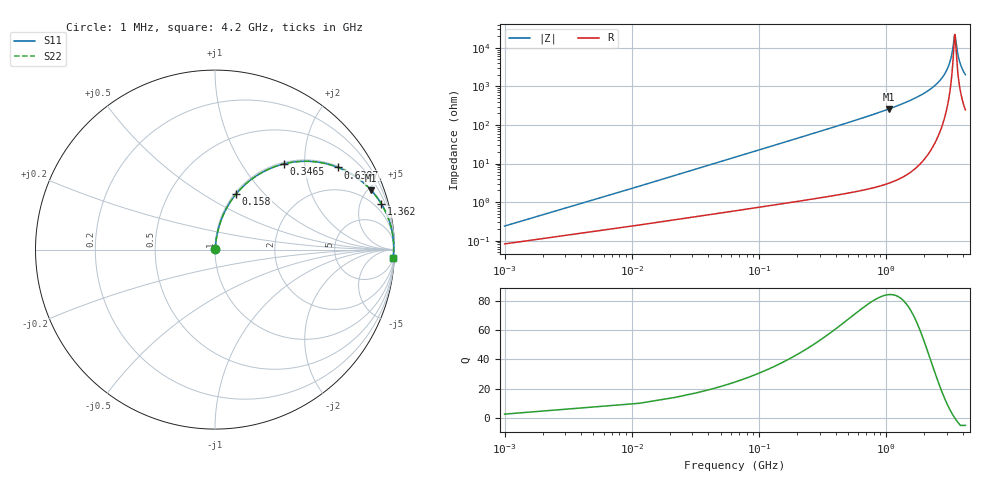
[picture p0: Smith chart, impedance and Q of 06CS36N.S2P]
! Coilcraft 0603CS-36N Chip Inductor
! 21 May 2002
# MHZ S MA R 50
!Freq  MagS11  AngS11  MagS21  AngS21  MagS12  AngS12  MagS22  AngS22
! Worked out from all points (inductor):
!   403 points, 1 MHz to 4.2 GHz, reference 50 ohm
!   read as one part in series: L = 35.7 nH near 21.94 MHz
!   highest Q = 84.2 at 1.058 GHz (marker M1), where L = 39.4 nH
!   self-resonance near 3.467 GHz
!   S11 on the Smith chart (normalised r, x): 1 MHz: 1.00, +0.00; 158.1 MHz: 1.02, +0.71; 346.5 MHz: 1.03, +1.57; 639.7 MHz: 1.04, +2.97; 1.362 GHz: 1.09, +7.22; 4.2 GHz: 6, -40
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1  0.002387 69.7  0.9992 -0.1  0.9992 -0.1  0.002387 69.7
32.41  0.07233 82.5  0.9932 -4.1  0.9932 -4.1  0.07233 82.5
42.88  0.09542 81.7  0.9907 -5.5  0.9907 -5.5  0.09542 81.7
84.76  0.1858 77.3  0.976 -10.7  0.976 -10.7  0.1858 77.3
158.05  0.3322 69.1  0.9347 -19.4  0.9347 -19.4  0.3322 69.1
346.51  0.6124 51.2  0.7799 -37.8  0.7799 -37.8  0.6124 51.2
639.67  0.8244 33.7  0.555 -55.5  0.555 -55.5  0.8244 33.7
702.49  0.8494 31.1  0.5169 -58.1  0.5169 -58.1  0.8494 31.1
1058.47  0.9305 20.8  0.3554 -68.5  0.3554 -68.5  0.9305 20.8
1362.1  0.9607 15.4  0.2659 -73.9  0.2659 -73.9  0.9607 15.4
1403.98  0.9635 14.8  0.2558 -74.5  0.2558 -74.5  0.9635 14.8
2105.47  0.9884 7.6  0.1322 -81.2  0.1322 -81.2  0.9884 7.6
2806.96  0.9951 3.1  0.05466 -83.3  0.05466 -83.3  0.9951 3.1
3162.94  0.9958 1.4  0.024 -79.2  0.024 -79.2  0.9958 1.4
3309.52  0.9957 0.7  0.01277 -70.1  0.01277 -70.1  0.9957 0.7
3445.63  0.9956 0.1  0.004772 -21.4  0.004772 -21.4  0.9956 0.1
3477.04  0.9955 -0.0  0.004533 7.2  0.004533 7.2  0.9955 -0.0
3508.45  0.9954 -0.2  0.005384 32.0  0.005384 32.0  0.9954 -0.2
3623.62  0.9952 -0.6  0.01211 66.1  0.01211 66.1  0.9952 -0.6
3759.73  0.9947 -1.2  0.02117 75.0  0.02117 75.0  0.9947 -1.2
3948.19  0.994 -1.9  0.03353 78.7  0.03353 78.7  0.994 -1.9
4200  0.9927 -2.8  0.04937 80.2  0.04937 80.2  0.9927 -2.8
